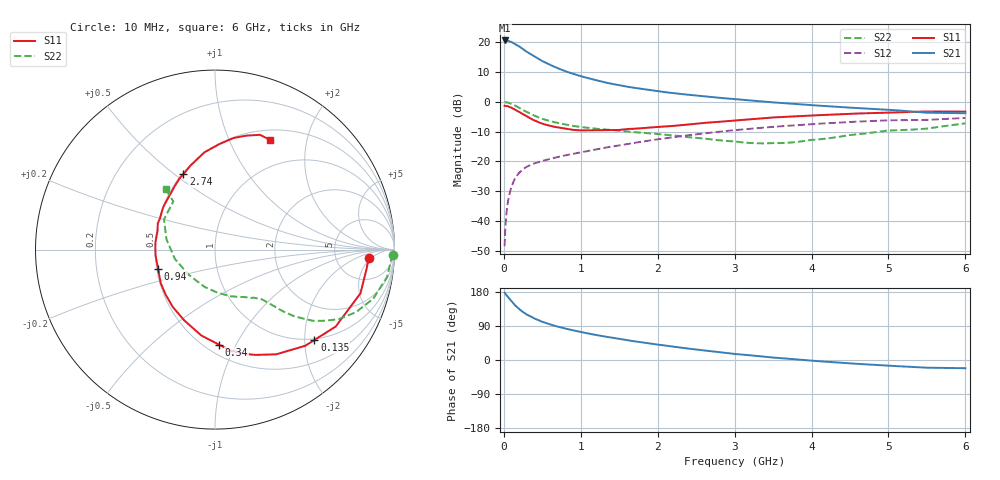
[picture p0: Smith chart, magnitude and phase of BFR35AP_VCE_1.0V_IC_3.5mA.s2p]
! Infineon Technologies  Discrete & RF Semiconductors
! BFR35AP
! VCE =  1.0 V,  IC =  3.5 mA
! Common Emitter S-Parameters:  Nov 2015
# GHz  S  MA  R  50
!  f  S11  S21  S12  S22
! GHz  MAG  ANG  MAG  ANG  MAG  ANG  MAG  ANG
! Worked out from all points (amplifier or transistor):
!   210 points, 10 MHz to 6 GHz, reference 50 ohm
!   highest |S21| = 20.5 dB at 10 MHz (marker M1)
!   |S21| within 3 dB of that: start of sweep to 254.1 MHz
!   unconditionally stable (mu >= 1): 847.3 MHz to end of sweep
!   at 185 MHz: K = 0.32, MSG = 21.5 dB, |S12| = -24.3 dB
!   at 1.52 GHz: K = 1.19, MAG = 7.4 dB, |S12| = -14.5 dB
!   at 6 GHz: K = 1.04, MAG = -0.5 dB, |S12| = -5.4 dB
!   S11 on the Smith chart (normalised r, x): 10 MHz: 11, -4; 135 MHz: 0.97, -2.22; 340 MHz: 0.58, -0.85; 940 MHz: 0.51, -0.12; 2.74 GHz: 0.51, +0.54; 6 GHz: 0.62, +1.42
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0.01  0.8571 -3.3  10.65 177.7  0.0038 86.7  0.9921 -1.7
0.025  0.8493 -8.4  10.5 173.4  0.01 83.2  0.9793 -4.5
0.05  0.8465 -16.7  10.57 167.0  0.0199 80.3  0.9711 -9.0
0.1  0.7976 -32.5  10.04 155.0  0.038 72.6  0.9232 -17.2
0.135  0.7486 -42.3  9.42 147.1  0.0486 66.9  0.8775 -21.8
0.15  0.7349 -46.8  9.214 143.4  0.0533 65.2  0.8598 -23.9
0.2  0.6758 -59.7  8.466 134.2  0.0647 60.1  0.7915 -29.3
0.26  0.608 -73.3  7.447 125.0  0.0755 55.2  0.7139 -33.8
0.34  0.5295 -87.7  6.381 115.9  0.0863 51.4  0.6363 -37.5
0.4  0.4849 -99.0  5.728 109.2  0.093 49.4  0.5825 -39.9
0.5  0.43 -113.5  4.802 100.6  0.1018 47.6  0.5156 -42.1
0.6  0.3967 -126.4  4.146 93.9  0.1103 46.9  0.4731 -43.3
0.78  0.3579 -146.0  3.321 83.9  0.1247 46.6  0.4204 -45.0
0.94  0.3346 -161.2  2.832 76.4  0.1374 47.2  0.3871 -46.4
1.02  0.3315 -168.0  2.642 73.0  0.1439 47.4  0.3751 -47.3
1.4  0.3344 166.3  1.999 59.0  0.1768 47.5  0.337 -53.0
2.02  0.3797 136.7  1.491 40.2  0.2368 45.3  0.2855 -66.5
2.74  0.4553 112.8  1.185 22.1  0.3089 39.1  0.2302 -92.1
3.1  0.4961 104.4  1.078 14.3  0.3431 34.9  0.209 -110.8
4.1  0.5961 86.1  0.86 -3.3  0.4291 22.4  0.2348 -172.6
5.1  0.6638 73.4  0.72 -16.1  0.4897 8.8  0.3324 145.4
6  0.6836 63.6  0.642 -21.7  0.5358 -0.7  0.4346 129.2
